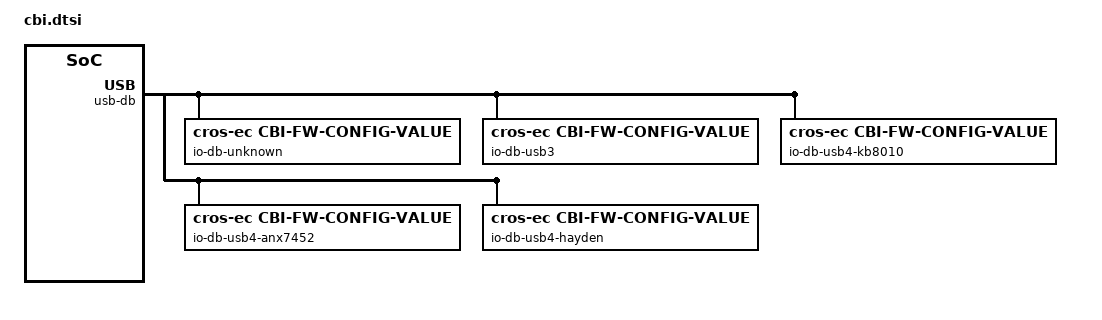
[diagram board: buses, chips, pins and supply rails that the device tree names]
/* Copyright 2023 The ChromiumOS Authors
 * Use of this source code is governed by a BSD-style license that can be
 * found in the LICENSE file.
 */

/ {
	rex-fw-config {
		compatible = "cros-ec,cbi-fw-config";

		/*
		 * FW_CONFIG field to enable USB DB.
		 */
		usb-db {
			enum-name = "FW_USB_DB";
			start = <12>;
			size = <3>;

			io-db-unknown {
				compatible = "cros-ec,cbi-fw-config-value";
				enum-name = "FW_USB_DB_NOT_CONNECTED";
				value = <0>;
			};
			io-db-usb3 {
				compatible = "cros-ec,cbi-fw-config-value";
				enum-name = "FW_USB_DB_USB3";
				value = <1>;
				default;
			};
			io-db-usb4-kb8010 {
				compatible = "cros-ec,cbi-fw-config-value";
				enum-name = "FW_USB_DB_USB4_KB8010";
				value = <2>;
			};
			io-db-usb4-anx7452 {
				compatible = "cros-ec,cbi-fw-config-value";
				enum-name = "FW_USB_DB_USB4_ANX7452";
				value = <3>;
			};
			io-db-usb4-hayden {
				compatible = "cros-ec,cbi-fw-config-value";
				enum-name = "FW_USB_DB_USB4_HB";
				value = <4>;
			};
		};
	};
};
